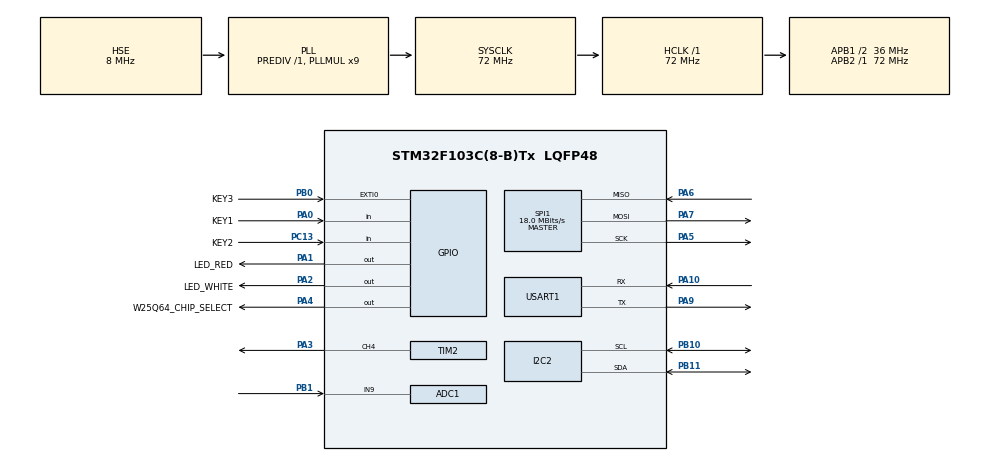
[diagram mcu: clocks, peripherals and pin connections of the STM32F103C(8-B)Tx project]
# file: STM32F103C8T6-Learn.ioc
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ADC1.Channel-2\#ChannelRegularConversion=ADC_CHANNEL_9
ADC1.ContinuousConvMode=ENABLE
ADC1.NbrOfConversionFlag=1
ADC1.Rank-2\#ChannelRegularConversion=1
ADC1.SamplingTime-2\#ChannelRegularConversion=ADC_SAMPLETIME_55CYCLES_5
ADC1.master=1
Dma.Request0=USART1_RX
Dma.Request1=USART1_TX
Dma.USART1_RX.0.Direction=DMA_PERIPH_TO_MEMORY
Dma.USART1_RX.0.Instance=DMA1_Channel5
Dma.USART1_RX.0.MemDataAlignment=DMA_MDATAALIGN_BYTE
Dma.USART1_RX.0.MemInc=DMA_MINC_ENABLE
Dma.USART1_RX.0.Mode=DMA_NORMAL
Dma.USART1_RX.0.PeriphDataAlignment=DMA_PDATAALIGN_BYTE
Dma.USART1_RX.0.PeriphInc=DMA_PINC_DISABLE
Dma.USART1_RX.0.Priority=DMA_PRIORITY_LOW
Dma.USART1_TX.1.Direction=DMA_MEMORY_TO_PERIPH
Dma.USART1_TX.1.Instance=DMA1_Channel4
Dma.USART1_TX.1.MemDataAlignment=DMA_MDATAALIGN_BYTE
Dma.USART1_TX.1.MemInc=DMA_MINC_ENABLE
Dma.USART1_TX.1.Mode=DMA_NORMAL
Dma.USART1_TX.1.PeriphDataAlignment=DMA_PDATAALIGN_BYTE
Dma.USART1_TX.1.PeriphInc=DMA_PINC_DISABLE
Dma.USART1_TX.1.Priority=DMA_PRIORITY_LOW
IWDG.Prescaler=IWDG_PRESCALER_64
IWDG.Reload=625
Mcu.Family=STM32F1
Mcu.Name=STM32F103C(8-B)Tx
Mcu.Package=LQFP48
NVIC.ADC1_2_IRQn=true\:0\:0\:false\:false\:true\:true\:true\:true
NVIC.DMA1_Channel4_IRQn=true\:0\:0\:false\:false\:true\:false\:true\:true
NVIC.DMA1_Channel5_IRQn=true\:0\:0\:false\:false\:true\:false\:true\:true
NVIC.EXTI0_IRQn=true\:0\:0\:false\:false\:true\:true\:true\:true
NVIC.PriorityGroup=NVIC_PRIORITYGROUP_4
NVIC.TIM1_UP_IRQn=true\:15\:0\:false\:false\:true\:false\:true\:true
NVIC.TIM2_IRQn=true\:0\:0\:false\:false\:true\:true\:true\:true
NVIC.TIM4_IRQn=true\:0\:0\:false\:false\:true\:true\:true\:true
NVIC.TimeBase=TIM1_UP_IRQn
NVIC.TimeBaseIP=TIM1
NVIC.USART1_IRQn=true\:0\:0\:false\:false\:true\:true\:true\:true
NVIC.WWDG_IRQn=true\:0\:0\:false\:false\:true\:true\:true\:true
PA0-WKUP.GPIO_Label=KEY1
PA0-WKUP.Signal=GPIO_Input
PA1.GPIO_Label=LED_RED
PA1.Signal=GPIO_Output
PA10.Mode=Asynchronous
PA10.Signal=USART1_RX
PA13.Mode=Serial_Wire
PA13.Signal=SYS_JTMS-SWDIO
PA14.Mode=Serial_Wire
PA14.Signal=SYS_JTCK-SWCLK
PA2.GPIO_Label=LED_WHITE
PA2.Signal=GPIO_Output
PA3.GPIO_Speed=GPIO_SPEED_FREQ_HIGH
PA3.Signal=S_TIM2_CH4
PA4.GPIO_Label=W25Q64_CHIP_SELECT
PA4.PinState=GPIO_PIN_SET
PA4.Signal=GPIO_Output
PA5.Mode=Full_Duplex_Master
PA5.Signal=SPI1_SCK
PA6.Mode=Full_Duplex_Master
PA6.Signal=SPI1_MISO
PA7.Mode=Full_Duplex_Master
PA7.Signal=SPI1_MOSI
PA9.Mode=Asynchronous
PA9.Signal=USART1_TX
PB0.GPIO_Label=KEY3
PB0.Signal=GPXTI0
PB1.Signal=ADCx_IN9
PB10.Mode=I2C
PB10.Signal=I2C2_SCL
PB11.Mode=I2C
PB11.Signal=I2C2_SDA
PC13-TAMPER-RTC.GPIO_Label=KEY2
PC13-TAMPER-RTC.Signal=GPIO_Input
PC14-OSC32_IN.Mode=LSE-External-Oscillator
PC14-OSC32_IN.Signal=RCC_OSC32_IN
PC15-OSC32_OUT.Mode=LSE-External-Oscillator
PC15-OSC32_OUT.Signal=RCC_OSC32_OUT
PD0-OSC_IN.Mode=HSE-External-Oscillator
PD0-OSC_IN.Signal=RCC_OSC_IN
PD1-OSC_OUT.Mode=HSE-External-Oscillator
PD1-OSC_OUT.Signal=RCC_OSC_OUT
ProjectManager.HeapSize=0x200
ProjectManager.StackSize=0x400
ProjectManager.TargetToolchain=STM32CubeIDE
RCC.ADCPresc=RCC_ADCPCLK2_DIV6
RCC.AHBFreq_Value=72000000
RCC.APB1CLKDivider=RCC_HCLK_DIV2
RCC.APB1Freq_Value=36000000
RCC.APB1TimFreq_Value=72000000
RCC.APB2Freq_Value=72000000
RCC.APB2TimFreq_Value=72000000
RCC.HCLKFreq_Value=72000000
RCC.PLLMUL=RCC_PLL_MUL9
RCC.PLLSourceVirtual=RCC_PLLSOURCE_HSE
RCC.RTCClockSelection=RCC_RTCCLKSOURCE_LSE
RCC.SYSCLKFreq_VALUE=72000000
RCC.SYSCLKSource=RCC_SYSCLKSOURCE_PLLCLK
RCC.USBFreq_Value=72000000
SH.ADCx_IN9.0=ADC1_IN9,IN9
SH.S_TIM2_CH4.0=TIM2_CH4,PWM Generation4 CH4
SPI1.BaudRatePrescaler=SPI_BAUDRATEPRESCALER_4
SPI1.CalculateBaudRate=18.0 MBits/s
SPI1.Direction=SPI_DIRECTION_2LINES
SPI1.Mode=SPI_MODE_MASTER
SPI1.VirtualType=VM_MASTER
TIM2.AutoReloadPreload=TIM_AUTORELOAD_PRELOAD_ENABLE
TIM2.Channel-PWM\ Generation4\ CH4=TIM_CHANNEL_4
TIM2.Period=200-1
TIM2.Prescaler=1024-1
TIM4.AutoReloadPreload=TIM_AUTORELOAD_PRELOAD_ENABLE
TIM4.Period=1000-1
TIM4.Prescaler=72-1
TIM4.TIM_MasterSlaveMode=TIM_MASTERSLAVEMODE_DISABLE
USART1.VirtualMode=VM_ASYNC
VP_CRC_VS_CRC.Mode=CRC_Activate
VP_IWDG_VS_IWDG.Mode=IWDG_Activate
VP_RTC_VS_RTC_Activate.Mode=RTC_Enabled
VP_RTC_VS_RTC_Calendar.Mode=RTC_Calendar
VP_SYS_VS_tim1.Mode=TIM1
VP_TIM2_VS_ClockSourceINT.Mode=Internal
VP_TIM4_VS_ClockSourceINT.Mode=Internal
VP_WWDG_VS_WWDG.Mode=WWDG_Activate
WWDG.Counter=127
WWDG.EWIMode=WWDG_EWI_ENABLE
WWDG.Prescaler=WWDG_PRESCALER_8
WWDG.Window=90
board=custom

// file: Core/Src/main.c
/* USER CODE BEGIN Header */
/**
  ******************************************************************************
  * @file           : main.c
  * @brief          : Main program body
  ******************************************************************************
  * @attention
  *
  * Copyright (c) 2025 STMicroelectronics.
  * All rights reserved.
  *
  * This software is licensed under terms that can be found in the LICENSE file
  * in the root directory of this software component.
  * If no LICENSE file comes with this software, it is provided AS-IS.
  *
  ******************************************************************************
  */
/* USER CODE END Header */
#include "main.h"
#include "adc.h"
#include "crc.h"
#include "dma.h"
#include "i2c.h"
#include "iwdg.h"
#include "rtc.h"
#include "spi.h"
#include "tim.h"
#include "usart.h"
#include "wwdg.h"
#include "gpio.h"

/* USER CODE BEGIN Includes */
#include <stdio.h>
#include <memory.h>
#include "W25Q64.h"
/* USER CODE END Includes */

/* USER CODE BEGIN PV */

uint8_t Buffer[1];
uint8_t sendBuff[] = "USART test by DMA\r\n";

uint8_t recvBuff[BUFFER_SIZE];  //接收数据缓存数组
volatile uint8_t recvLength = 0;  //接收一帧数据的长度
volatile uint8_t recvDndFlag = 0; //一帧数据接收完成标志

// ADC转换值
__IO uint32_t ADC_ConvertedValue;
// 用于保存转换计算后的电压值
float ADC_Vol;

// I2C
#define ADDR_24LCxx_Write 0xA0
#define ADDR_24LCxx_Read 0xA1
#define BufferSize 256
uint8_t WriteBuffer[BufferSize] = {0};
uint8_t ReadBuffer[BufferSize] = {0};

// SPI
uint16_t device_id;
uint8_t read_buf[10] = {0};
uint8_t write_buf[10] = {0};
int i;

// PWM
uint16_t indexWave[] = {
        1, 1, 1, 1, 2, 2, 2, 2, 3, 3, 4,
        4, 5, 5, 6, 7, 8, 9, 10, 11, 13,
        15, 17, 19, 22, 25, 28, 32, 36,
        41, 47, 53, 61, 69, 79, 89, 102,
        116, 131, 149, 170, 193, 219, 250,
        284, 323, 367, 417, 474, 539, 613,
        697, 792, 901, 1024, 1024, 901, 792,
        697, 613, 539, 474, 417, 367, 323,
        284, 250, 219, 193, 170, 149, 131,
        116, 102, 89, 79, 69, 61, 53, 47, 41,
        36, 32, 28, 25, 22, 19, 17, 15, 13,
        11, 10, 9, 8, 7, 6, 5, 5, 4, 4, 3, 3,
        2, 2, 2, 2, 1, 1, 1, 1
};

uint16_t POINT_NUM = sizeof(indexWave)/sizeof(indexWave[0]);

// RTC
RTC_DateTypeDef GetData;  //获取日期结构体
RTC_TimeTypeDef GetTime;   //获取时间结构体

/* USER CODE END PV */

void SystemClock_Config(void);

/* USER CODE BEGIN 0 */

void I2C_Example() {
    // STM32F103C8T6无独立EEPROM，可用Flash模拟
    printf("\r\n***************I2C Example*******************************\r\n");
    uint32_t i;
    uint8_t j;
    // 0x00 ~ 0xFF
    for(i = 0; i < 256; i++)
    {
        WriteBuffer[i] = i;    /* WriteBuffer init */
        printf("0x%02X ", WriteBuffer[i]);
        if(i % 16 == 15)
        {
            printf("\n\r");
        }
    }
    /* wrinte date to EEPROM */
    for (j = 0; j < 32; j++)
    {
        HAL_StatusTypeDef status = HAL_I2C_Mem_Write(&hi2c2, ADDR_24LCxx_Write, 8*j, I2C_MEMADD_SIZE_8BIT, WriteBuffer+8*j, 8, 100);
        if(status == HAL_OK)
        {
            printf("\r\n EEPROM 24C02 Write Test OK \r\n");
        }
        else
        {
            printf("\r\n EEPROM 24C02 Write Test False [status: 0x%02X]  \r\n", status);
        }
        HAL_Delay(5);
    }
    /* read date from EEPROM */
    HAL_I2C_Mem_Read(&hi2c2, ADDR_24LCxx_Read, 0, I2C_MEMADD_SIZE_8BIT, ReadBuffer, BufferSize, 1000);
    for(i = 0; i < 256; i++)
    {
        printf("0x%02X  ",ReadBuffer[i]);
        if(i%16 == 15)
        {
            printf("\n\r");
        }
    }

    if(memcmp(WriteBuffer,ReadBuffer,BufferSize) == 0 ) /* check date */
    {
        printf("\r\n EEPROM 24C02 Read Test OK\r\n");
    }
    else
    {
        printf("\r\n EEPROM 24C02 Read Test False\r\n");
    }

}

void SPI_Example() {
    printf("\r\n***************SPI Example*******************************\r\n");

    device_id = W25QXX_ReadID();
    printf("W25Q64 Device ID is 0x%04x\r\n", device_id);

    /* 为了验证，首先读取要写入地址处的数据 */
    printf("-------- read data before write -----------\r\n");
    W25QXX_Read(read_buf, 0, 10);

    for(i = 0; i < 10; i++)
    {
        printf("[0x%08x]:0x%02x\r\n", i, *(read_buf+i));
    }

    /* 擦除该扇区 */
    printf("-------- erase sector 0 -----------\r\n");
    W25QXX_Erase_Sector(0);

    /* 再次读数据 */
    printf("-------- read data after erase -----------\r\n");
    W25QXX_Read(read_buf, 0, 10);
    for(i = 0; i < 10; i++)
    {
        printf("[0x%08x]:0x%02x\r\n", i, *(read_buf+i));
    }

    /* 写数据 */
    printf("-------- write data -----------\r\n");
    for(i = 0; i < 10; i++)
    {
        write_buf[i] = i;
    }
    W25QXX_Page_Program(write_buf, 0, 10);

    /* 再次读数据 */
    printf("-------- read data after write -----------\r\n");
    W25QXX_Read(read_buf, 0, 10);
    for(i = 0; i < 10; i++)
    {
        printf("[0x%08x]:0x%02x\r\n", i, *(read_buf+i));
    }
}

// CRC
#define BUFFER_SIZE    114
static const uint32_t dataBuffer[BUFFER_SIZE] =
        {
                0x00001021, 0x20423063, 0x408450a5, 0x60c670e7, 0x9129a14a, 0xb16bc18c,
                0xd1ade1ce, 0xf1ef1231, 0x32732252, 0x52b54294, 0x72f762d6, 0x93398318,
                0xa35ad3bd, 0xc39cf3ff, 0xe3de2462, 0x34430420, 0x64e674c7, 0x44a45485,
                0xa56ab54b, 0x85289509, 0xf5cfc5ac, 0xd58d3653, 0x26721611, 0x063076d7,
                0x569546b4, 0xb75ba77a, 0x97198738, 0xf7dfe7fe, 0xc7bc48c4, 0x58e56886,
                0x78a70840, 0x18612802, 0xc9ccd9ed, 0xe98ef9af, 0x89489969, 0xa90ab92b,
                0x4ad47ab7, 0x6a961a71, 0x0a503a33, 0x2a12dbfd, 0xfbbfeb9e, 0x9b798b58,
                0xbb3bab1a, 0x6ca67c87, 0x5cc52c22, 0x3c030c60, 0x1c41edae, 0xfd8fcdec,
                0xad2abd0b, 0x8d689d49, 0x7e976eb6, 0x5ed54ef4, 0x2e321e51, 0x0e70ff9f,
                0xefbedfdd, 0xcffcbf1b, 0x9f598f78, 0x918881a9, 0xb1caa1eb, 0xd10cc12d,
                0xe16f1080, 0x00a130c2, 0x20e35004, 0x40257046, 0x83b99398, 0xa3fbb3da,
                0xc33dd31c, 0xe37ff35e, 0x129022f3, 0x32d24235, 0x52146277, 0x7256b5ea,
                0x95a88589, 0xf56ee54f, 0xd52cc50d, 0x34e224c3, 0x04817466, 0x64475424,
                0x4405a7db, 0xb7fa8799, 0xe75ff77e, 0xc71dd73c, 0x26d336f2, 0x069116b0,
                0x76764615, 0x5634d94c, 0xc96df90e, 0xe92f99c8, 0xb98aa9ab, 0x58444865,
                0x78066827, 0x18c008e1, 0x28a3cb7d, 0xdb5ceb3f, 0xfb1e8bf9, 0x9bd8abbb,
                0x4a755a54, 0x6a377a16, 0x0af11ad0, 0x2ab33a92, 0xed0fdd6c, 0xcd4dbdaa,
                0xad8b9de8, 0x8dc97c26, 0x5c644c45, 0x3ca22c83, 0x1ce00cc1, 0xef1fff3e,
                0xdf7caf9b, 0xbfba8fd9, 0x9ff86e17, 0x7e364e55, 0x2e933eb2, 0x0ed11ef0
        };

/* Expected CRC Value */
uint32_t uwExpectedCRCValue = 0x379E9F06;

void CRC_Example() {
    __IO uint32_t CRCValue = 0;
    CRCValue = HAL_CRC_Calculate(&hcrc, (uint32_t *)dataBuffer, BUFFER_SIZE);
    printf("\r\n32-bit CRC:0x%X\n", CRCValue);
    if(CRCValue != uwExpectedCRCValue)
    {
        printf("\n\r CRC wrong value\n\r");
    }
    else
    {
        printf("\n\r CRC right value\n\r");
    }
}

/* USER CODE END 0 */

int main(void)
{

  /* MCU Configuration--------------------------------------------------------*/

  /* Reset of all peripherals, Initializes the Flash interface and the Systick. */
  HAL_Init();

  /* Configure the system clock */
  SystemClock_Config();

  /* Initialize all configured peripherals */
  MX_GPIO_Init();
  MX_DMA_Init();
  MX_USART1_UART_Init();
  MX_TIM4_Init();
  MX_ADC1_Init();
  MX_I2C2_Init();
  MX_SPI1_Init();
  MX_IWDG_Init();
  MX_WWDG_Init();
  MX_TIM2_Init();
  MX_RTC_Init();
  MX_CRC_Init();
  /* USER CODE BEGIN 2 */
    HAL_UART_Receive_IT(&huart1, (uint8_t *)Buffer, 1);
    __HAL_UART_ENABLE_IT(&huart1, UART_IT_IDLE); //使能IDLE中断
    HAL_UART_Receive_DMA(&huart1, recvBuff, BUFFER_SIZE);
    // HAL_UART_Receive_DMA(&huart1, (uint8_t *)Buffer, 1);
  /**
   * 添加定时器启动函数
   * 现在进入 main 函数并在 while 循环前加入开启定时器函数 HAL_TIM_Base_Start_IT()，这里所传入的 htim4 就是刚刚定时器初始化后的结构体。
   */
    HAL_TIM_Base_Start_IT(&htim4);

    // ADC初始化后，添加ADC中断开启函数，这样在第一次接收到数据的时候才会触发中断
    HAL_ADCEx_Calibration_Start(&hadc1);    //AD校准
    HAL_ADC_Start_IT(&hadc1); //开启ADC中断转换

    // PWM启动
    HAL_TIM_Base_Start_IT(&htim2);
    HAL_TIM_PWM_Start(&htim2, TIM_CHANNEL_4);

    // I2C_Example();
    // SPI_Example();
    CRC_Example();

//    printf("\n\r***** IWDG Test Start *****\n\r");
//
//    printf("\n\r***** WWDG Test Start *****\n\r");

    // RTC设置初始时间

// 设置时间（23:19:45）
    GetTime.Hours = 23;
    GetTime.Minutes = 24;
    GetTime.Seconds = 45;
    //GetTime.TimeFormat = RTC_HOURFORMAT_24;  // 24小时制
    HAL_RTC_SetTime(&hrtc, &GetTime, RTC_FORMAT_BIN);

// 设置日期（2025年5月16日，星期五）
    GetData.WeekDay = RTC_WEEKDAY_FRIDAY;  // 星期需根据实际日期计算
    GetData.Month = RTC_MONTH_MAY;
    GetData.Date = 16;
    GetData.Year = 25;  // 年份为2025的后两位
    HAL_RTC_SetDate(&hrtc, &GetData, RTC_FORMAT_BIN);

  /* USER CODE END 2 */

  /* Infinite loop */
  /* USER CODE BEGIN WHILE */

  while (1)
  {
//      // DMA 注意：如果不开启串口中断，则程序只能发送一次数据,程序不能判断DMA传输是否完成，USART一直处于busy状态。
//      HAL_UART_Transmit_DMA(&huart1, (uint8_t *)sendBuff, sizeof(sendBuff));
//      HAL_Delay(1000);
//
//      // ADC 添加电压值转换
//      ADC_Vol =(float) ADC_ConvertedValue/4096*3.3; // 读取转换的AD倿
//      printf("The current AD ADC_ConvertedValue = 0x%04X", ADC_ConvertedValue);
//      printf("The current AD ADC_Vol = %f V \r\n",ADC_Vol); //实际电压倿
//      HAL_Delay(1000);

      // IWDG
//      printf("\n\r Refreshes the IWDG !!!\n\r");
//      // 因为设置超时溢出为 1 秒，所以这里每隔 800 毫秒喂狗一次 HAL_IWDG_Refresh(&hiwdg);
//      HAL_IWDG_Refresh(&hiwdg);
//      HAL_Delay(800);

      // WWDG
//      printf("\n\r Running...\n\r");
//      HAL_Delay(1000);

      /* Get the RTC current Time */
      HAL_RTC_GetTime(&hrtc, &GetTime, RTC_FORMAT_BIN);
      /* Get the RTC current Date */
      HAL_RTC_GetDate(&hrtc, &GetData, RTC_FORMAT_BIN);

      /* Display date Format : yy/mm/dd */
      printf("%02d/%02d/%02d\r\n",2000 + GetData.Year, GetData.Month, GetData.Date);
      /* Display time Format : hh:mm:ss */
      printf("%02d:%02d:%02d\r\n",GetTime.Hours, GetTime.Minutes, GetTime.Seconds);

      printf("\r\n");

      HAL_Delay(1000);

    /* USER CODE END WHILE */

  }
}

void SystemClock_Config(void)
{
  RCC_OscInitTypeDef RCC_OscInitStruct = {0};
  RCC_ClkInitTypeDef RCC_ClkInitStruct = {0};
  RCC_PeriphCLKInitTypeDef PeriphClkInit = {0};

  /** Initializes the RCC Oscillators according to the specified parameters
  * in the RCC_OscInitTypeDef structure.
  */
  RCC_OscInitStruct.OscillatorType = RCC_OSCILLATORTYPE_LSI|RCC_OSCILLATORTYPE_HSE
                              |RCC_OSCILLATORTYPE_LSE;
  RCC_OscInitStruct.HSEState = RCC_HSE_ON;
  RCC_OscInitStruct.HSEPredivValue = RCC_HSE_PREDIV_DIV1;
  RCC_OscInitStruct.LSEState = RCC_LSE_ON;
  RCC_OscInitStruct.HSIState = RCC_HSI_ON;
  RCC_OscInitStruct.LSIState = RCC_LSI_ON;
  RCC_OscInitStruct.PLL.PLLState = RCC_PLL_ON;
  RCC_OscInitStruct.PLL.PLLSource = RCC_PLLSOURCE_HSE;
  RCC_OscInitStruct.PLL.PLLMUL = RCC_PLL_MUL9;
  if (HAL_RCC_OscConfig(&RCC_OscInitStruct) != HAL_OK)
  {
    Error_Handler();
  }

  /** Initializes the CPU, AHB and APB buses clocks
  */
  RCC_ClkInitStruct.ClockType = RCC_CLOCKTYPE_HCLK|RCC_CLOCKTYPE_SYSCLK
                              |RCC_CLOCKTYPE_PCLK1|RCC_CLOCKTYPE_PCLK2;
  RCC_ClkInitStruct.SYSCLKSource = RCC_SYSCLKSOURCE_PLLCLK;
  RCC_ClkInitStruct.AHBCLKDivider = RCC_SYSCLK_DIV1;
  RCC_ClkInitStruct.APB1CLKDivider = RCC_HCLK_DIV2;
  RCC_ClkInitStruct.APB2CLKDivider = RCC_HCLK_DIV1;

  if (HAL_RCC_ClockConfig(&RCC_ClkInitStruct, FLASH_LATENCY_2) != HAL_OK)
  {
    Error_Handler();
  }
  PeriphClkInit.PeriphClockSelection = RCC_PERIPHCLK_RTC|RCC_PERIPHCLK_ADC;
  PeriphClkInit.RTCClockSelection = RCC_RTCCLKSOURCE_LSE;
  PeriphClkInit.AdcClockSelection = RCC_ADCPCLK2_DIV6;
  if (HAL_RCCEx_PeriphCLKConfig(&PeriphClkInit) != HAL_OK)
  {
    Error_Handler();
  }
}

/* USER CODE BEGIN 4 */

void HAL_UART_RxCpltCallback(UART_HandleTypeDef *huart)
{
    if(huart->Instance == USART1)
    {
        HAL_UART_Transmit(&huart1, (uint8_t *)Buffer, 1, 0xffff);
        HAL_UART_Receive_IT(&huart1, (uint8_t *)Buffer, 1);
    }
}

void HAL_ADC_ConvCpltCallback(ADC_HandleTypeDef* hadc)
{
    // 在中断回调函数中进行读取数据，将数据存放在变量 ADC_ConvertedValue 中。
    ADC_ConvertedValue = HAL_ADC_GetValue(hadc);
}

void HAL_WWDG_EarlyWakeupCallback(WWDG_HandleTypeDef *hwwdg)
{
    HAL_WWDG_Refresh(hwwdg);
}

//  封装SPI Flash(W25Q64)的命令和底层函数
/**
 * 向 SPI Flash 发送数据的函数
 * @brief    SPI发送指定长度的数据
 * @param    buf  —— 发送数据缓冲区首地址
 * @param    size —— 要发送数据的字节数
 * @retval   成功返回HAL_OK
 */
HAL_StatusTypeDef SPI_Transmit(uint8_t* send_buf, uint16_t size)
{
    return HAL_SPI_Transmit(&hspi1, send_buf, size, 100);
}

/**
 * 从 SPI Flash 接收数据的函数
 * @brief   SPI接收指定长度的数据
 * @param   buf  —— 接收数据缓冲区首地址
 * @param   size —— 要接收数据的字节数
 * @retval  成功返回HAL_OK
 */
HAL_StatusTypeDef SPI_Receive(uint8_t* recv_buf, uint16_t size)
{
    return HAL_SPI_Receive(&hspi1, recv_buf, size, 100);
}

/**
 * 发送数据的同时读取数据的函数
 * @brief   SPI在发送数据的同时接收指定长度的数据
 * @param   send_buf  —— 接收数据缓冲区首地址
 * @param   recv_buf  —— 接收数据缓冲区首地址
 * @param   size —— 要发送/接收数据的字节数
 * @retval  成功返回HAL_OK
 */
HAL_StatusTypeDef SPI_TransmitReceive(uint8_t* send_buf, uint8_t* recv_buf, uint16_t size)
{
    return HAL_SPI_TransmitReceive(&hspi1, send_buf, recv_buf, size, 100);
}

/* USER CODE END 4 */

void HAL_TIM_PeriodElapsedCallback(TIM_HandleTypeDef *htim)
{
  /* USER CODE BEGIN Callback 0 */
    static uint32_t time = 0;
    if(htim->Instance == TIM4)  // 定时器4基地址
    {
        // 自定义应用程序
        time++;           // 每1ms进来1次
        if(time == 1000)  // 每1秒LED灯翻转一次
        {
//            HAL_GPIO_TogglePin(LED_WHITE_GPIO_Port,LED_WHITE_Pin);
//            HAL_GPIO_TogglePin(LED_RED_GPIO_Port,LED_RED_Pin);
            time = 0;
        }
    }

    static uint8_t pwm_index = 1;        /* 用于PWM查表 */
    static uint8_t period_cnt = 0;       /* 用于计算周期数 */
    if (htim->Instance == TIM2) {

        period_cnt++;
        /* 若输出的周期数大于20，输出下一种脉冲宽的PWM波 */
        if(period_cnt >= 20)
        {
            /* 根据PWM表修改定时器的比较寄存器值 */
            __HAL_TIM_SET_COMPARE(htim, TIM_CHANNEL_4, indexWave[pwm_index]);

            /* 标志PWM表的下一个元素 */
            pwm_index++;
            /* 若PWM脉冲表已经输出完成一遍，重置PWM查表标志 */
            if( pwm_index >=  POINT_NUM)
            {
                pwm_index=0;
            }
            /* 重置周期计数标志 */
            period_cnt=0;
        }
    }

  /* USER CODE END Callback 0 */
  if (htim->Instance == TIM1) {
    HAL_IncTick();
  }
}

void Error_Handler(void)
{
  __disable_irq();
  while (1)
  {
  }
}
